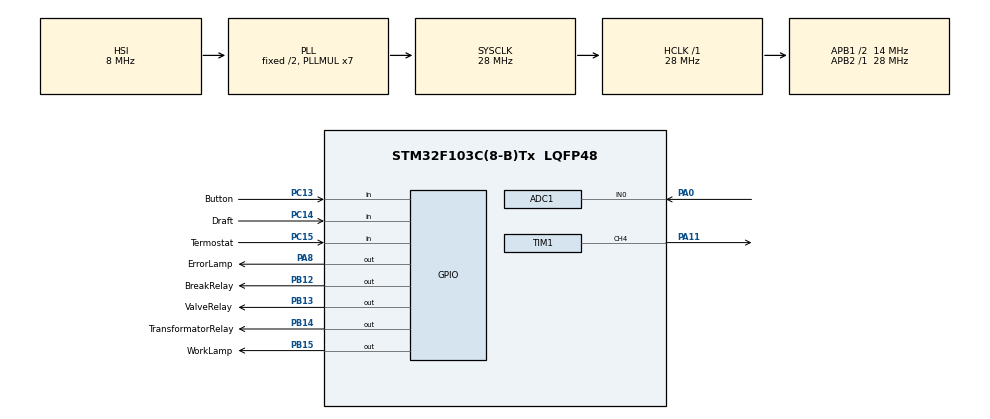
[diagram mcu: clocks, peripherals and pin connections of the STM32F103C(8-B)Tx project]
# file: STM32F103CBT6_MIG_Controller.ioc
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ADC1.Channel-0\#ChannelRegularConversion=ADC_CHANNEL_0
ADC1.ContinuousConvMode=DISABLE
ADC1.DataAlign=ADC_DATAALIGN_RIGHT
ADC1.DiscontinuousConvMode=DISABLE
ADC1.EnableAnalogWatchDog=false
ADC1.EnableRegularConversion=ENABLE
ADC1.ExternalTrigConv=ADC_SOFTWARE_START
ADC1.InjNumberOfConversion=0
ADC1.NbrOfConversion=1
ADC1.NbrOfConversionFlag=1
ADC1.Rank-0\#ChannelRegularConversion=1
ADC1.SamplingTime-0\#ChannelRegularConversion=ADC_SAMPLETIME_13CYCLES_5
ADC1.ScanConvMode=ADC_SCAN_DISABLE
ADC1.master=1
Mcu.Family=STM32F1
Mcu.Name=STM32F103C(8-B)Tx
Mcu.Package=LQFP48
NVIC.PriorityGroup=NVIC_PRIORITYGROUP_4
PA0-WKUP.Signal=ADCx_IN0
PA11.Signal=S_TIM1_CH4
PA13.Mode=Serial_Wire
PA13.Signal=SYS_JTMS-SWDIO
PA14.Mode=Serial_Wire
PA14.Signal=SYS_JTCK-SWCLK
PA8.GPIO_Label=ErrorLamp
PA8.Signal=GPIO_Output
PB12.GPIO_Label=BreakRelay
PB12.Signal=GPIO_Output
PB13.GPIO_Label=ValveRelay
PB13.Signal=GPIO_Output
PB14.GPIO_Label=TransformatorRelay
PB14.Signal=GPIO_Output
PB15.GPIO_Label=WorkLamp
PB15.Signal=GPIO_Output
PC13-TAMPER-RTC.GPIO_Label=Button
PC13-TAMPER-RTC.Signal=GPIO_Input
PC14-OSC32_IN.GPIO_Label=Draft
PC14-OSC32_IN.Signal=GPIO_Input
PC15-OSC32_OUT.GPIO_Label=Termostat
PC15-OSC32_OUT.Signal=GPIO_Input
PD0-OSC_IN.Mode=HSE-External-Oscillator
PD0-OSC_IN.Signal=RCC_OSC_IN
PD1-OSC_OUT.Mode=HSE-External-Oscillator
PD1-OSC_OUT.Signal=RCC_OSC_OUT
ProjectManager.HeapSize=0x200
ProjectManager.StackSize=0x400
ProjectManager.TargetToolchain=SW4STM32
RCC.AHBFreq_Value=28000000
RCC.APB1CLKDivider=RCC_HCLK_DIV2
RCC.APB1Freq_Value=14000000
RCC.APB1TimFreq_Value=28000000
RCC.APB2Freq_Value=28000000
RCC.APB2TimFreq_Value=28000000
RCC.HCLKFreq_Value=28000000
RCC.PLLMUL=RCC_PLL_MUL7
RCC.SYSCLKFreq_VALUE=28000000
RCC.SYSCLKSource=RCC_SYSCLKSOURCE_PLLCLK
RCC.USBFreq_Value=28000000
SH.ADCx_IN0.0=ADC1_IN0,IN0
SH.S_TIM1_CH4.0=TIM1_CH4,PWM Generation4 CH4
TIM1.Channel-PWM\ Generation4\ CH4=TIM_CHANNEL_4
TIM1.Period=255
TIM1.Prescaler=26
board=custom

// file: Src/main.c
/**
 ******************************************************************************
 * @file           : main.c
 * @brief          : Main program body
 ******************************************************************************
 ** This notice applies to any and all portions of this file
 * that are not between comment pairs USER CODE BEGIN and
 * USER CODE END. Other portions of this file, whether
 * inserted by the user or by software development tools
 * are owned by their respective copyright owners.
 *
 * COPYRIGHT(c) 2019 STMicroelectronics
 *
 * Redistribution and use in source and binary forms, with or without modification,
 * are permitted provided that the following conditions are met:
 *   1. Redistributions of source code must retain the above copyright notice,
 *      this list of conditions and the following disclaimer.
 *   2. Redistributions in binary form must reproduce the above copyright notice,
 *      this list of conditions and the following disclaimer in the documentation
 *      and/or other materials provided with the distribution.
 *   3. Neither the name of STMicroelectronics nor the names of its contributors
 *      may be used to endorse or promote products derived from this software
 *      without specific prior written permission.
 *
 * THIS SOFTWARE IS PROVIDED BY THE COPYRIGHT HOLDERS AND CONTRIBUTORS "AS IS"
 * AND ANY EXPRESS OR IMPLIED WARRANTIES, INCLUDING, BUT NOT LIMITED TO, THE
 * IMPLIED WARRANTIES OF MERCHANTABILITY AND FITNESS FOR A PARTICULAR PURPOSE ARE
 * DISCLAIMED. IN NO EVENT SHALL THE COPYRIGHT HOLDER OR CONTRIBUTORS BE LIABLE
 * FOR ANY DIRECT, INDIRECT, INCIDENTAL, SPECIAL, EXEMPLARY, OR CONSEQUENTIAL
 * DAMAGES (INCLUDING, BUT NOT LIMITED TO, PROCUREMENT OF SUBSTITUTE GOODS OR
 * SERVICES; LOSS OF USE, DATA, OR PROFITS; OR BUSINESS INTERRUPTION) HOWEVER
 * CAUSED AND ON ANY THEORY OF LIABILITY, WHETHER IN CONTRACT, STRICT LIABILITY,
 * OR TORT (INCLUDING NEGLIGENCE OR OTHERWISE) ARISING IN ANY WAY OUT OF THE USE
 * OF THIS SOFTWARE, EVEN IF ADVISED OF THE POSSIBILITY OF SUCH DAMAGE.
 *
 ******************************************************************************
 */
#include "main.h"
#include "stm32f1xx_hal.h"
#include "adc.h"
#include "tim.h"
#include "gpio.h"

/* USER CODE BEGIN Includes */
#include "stdbool.h"
/* USER CODE END Includes */

/* USER CODE BEGIN PV */
/* Private variables ---------------------------------------------------------*/

/* USER CODE END PV */

void SystemClock_Config(void);

/* USER CODE BEGIN PFP */
/* Private function prototypes -----------------------------------------------*/
bool ButtonIsPressed();
uint16_t ADC1_GetValue(uint32_t channel);
/* USER CODE END PFP */

int main(void) {

	/* MCU Configuration----------------------------------------------------------*/

	/* Reset of all peripherals, Initializes the Flash interface and the Systick. */
	HAL_Init();

	/* Configure the system clock */
	SystemClock_Config();

	/* Initialize all configured peripherals */
	MX_GPIO_Init();
	MX_TIM1_Init();
	MX_ADC1_Init();
	/* USER CODE BEGIN 2 */
	HAL_TIM_PWM_Start(&htim1, TIM_CHANNEL_4);
	TIM1->CCR4 = 10;
	u_int16_t PWM_BUFFER = 0;
	/* USER CODE END 2 */

	/* Infinite loop */
	/* USER CODE BEGIN WHILE */
	while (1) {

		if (ButtonIsPressed() == true) {

			if (HAL_GPIO_ReadPin(Termostat_GPIO_Port, Termostat_Pin)
					== GPIO_PIN_SET) {
				OverHeat();
				WorkLampDisable();
				ErrorLampEnable();
			} else {
				EnableTransformator();
				PWM_BUFFER = ADC1_GetValue(ADC_CHANNEL_0);
				TIM1->CCR4 = PWM_BUFFER / 16;
				HAL_Delay(500);
				EnableValve();
				UnBlockMotor();
				WorkLampEnable();
			}

		} else {
			BlockMotor();
			DisableTransformator();
			DisableValve();
			WorkLampDisable();

		}

		if (HAL_GPIO_ReadPin(Draft_GPIO_Port, Draft_Pin) == GPIO_PIN_RESET) {
			DraftWire();
		}
		WorkLampDisable();

		/* USER CODE END WHILE */

	}

}

void SystemClock_Config(void) {

	RCC_OscInitTypeDef RCC_OscInitStruct;
	RCC_ClkInitTypeDef RCC_ClkInitStruct;
	RCC_PeriphCLKInitTypeDef PeriphClkInit;

	/**Initializes the CPU, AHB and APB busses clocks
	 */
	RCC_OscInitStruct.OscillatorType = RCC_OSCILLATORTYPE_HSI;
	RCC_OscInitStruct.HSIState = RCC_HSI_ON;
	RCC_OscInitStruct.HSICalibrationValue = 16;
	RCC_OscInitStruct.PLL.PLLState = RCC_PLL_ON;
	RCC_OscInitStruct.PLL.PLLSource = RCC_PLLSOURCE_HSI_DIV2;
	RCC_OscInitStruct.PLL.PLLMUL = RCC_PLL_MUL7;
	if (HAL_RCC_OscConfig(&RCC_OscInitStruct) != HAL_OK) {
		_Error_Handler(__FILE__, __LINE__);
	}

	/**Initializes the CPU, AHB and APB busses clocks
	 */
	RCC_ClkInitStruct.ClockType = RCC_CLOCKTYPE_HCLK | RCC_CLOCKTYPE_SYSCLK
			| RCC_CLOCKTYPE_PCLK1 | RCC_CLOCKTYPE_PCLK2;
	RCC_ClkInitStruct.SYSCLKSource = RCC_SYSCLKSOURCE_PLLCLK;
	RCC_ClkInitStruct.AHBCLKDivider = RCC_SYSCLK_DIV1;
	RCC_ClkInitStruct.APB1CLKDivider = RCC_HCLK_DIV2;
	RCC_ClkInitStruct.APB2CLKDivider = RCC_HCLK_DIV1;

	if (HAL_RCC_ClockConfig(&RCC_ClkInitStruct, FLASH_LATENCY_1) != HAL_OK) {
		_Error_Handler(__FILE__, __LINE__);
	}

	PeriphClkInit.PeriphClockSelection = RCC_PERIPHCLK_ADC;
	PeriphClkInit.AdcClockSelection = RCC_ADCPCLK2_DIV2;
	if (HAL_RCCEx_PeriphCLKConfig(&PeriphClkInit) != HAL_OK) {
		_Error_Handler(__FILE__, __LINE__);
	}

	/**Configure the Systick interrupt time
	 */
	HAL_SYSTICK_Config(HAL_RCC_GetHCLKFreq() / 1000);

	/**Configure the Systick
	 */
	HAL_SYSTICK_CLKSourceConfig(SYSTICK_CLKSOURCE_HCLK);

	/* SysTick_IRQn interrupt configuration */
	HAL_NVIC_SetPriority(SysTick_IRQn, 0, 0);
}

/* USER CODE BEGIN 4 */
void EnableTransformator() {
	HAL_GPIO_WritePin(TransformatorRelay_GPIO_Port, TransformatorRelay_Pin,
			GPIO_PIN_SET);
}

void DisableTransformator() {
	HAL_GPIO_WritePin(TransformatorRelay_GPIO_Port, TransformatorRelay_Pin,
			GPIO_PIN_RESET);
}

bool ButtonIsPressed() {
	if (HAL_GPIO_ReadPin(Button_GPIO_Port, Button_Pin) == GPIO_PIN_RESET)
		return true;
	else
		return false;
}

void EnableValve() {
	HAL_GPIO_WritePin(ValveRelay_GPIO_Port, ValveRelay_Pin, GPIO_PIN_SET);
}

void DisableValve() {
	HAL_GPIO_WritePin(ValveRelay_GPIO_Port, ValveRelay_Pin, GPIO_PIN_RESET);
}

void BlockMotor() {
	HAL_GPIO_WritePin(BreakRelay_GPIO_Port, BreakRelay_Pin, GPIO_PIN_RESET);
}

void UnBlockMotor() {
	HAL_GPIO_WritePin(BreakRelay_GPIO_Port, BreakRelay_Pin, GPIO_PIN_SET);
}

void DraftWire() {
	uint16_t PWM_BUFFER = 0;
	UnBlockMotor();
	PWM_BUFFER = ADC1_GetValue(ADC_CHANNEL_0);
	TIM1->CCR4 = PWM_BUFFER / 16;

}

void ErrorLampEnable() {
	HAL_GPIO_WritePin(ErrorLamp_GPIO_Port, ErrorLamp_Pin, GPIO_PIN_SET);
}
void ErrorLampDisable() {
	HAL_GPIO_WritePin(ErrorLamp_GPIO_Port, ErrorLamp_Pin, GPIO_PIN_RESET);
}
void WorkLampEnable() {
	HAL_GPIO_WritePin(WorkLamp_GPIO_Port, WorkLamp_Pin, GPIO_PIN_SET);
}
void WorkLampDisable() {
	HAL_GPIO_WritePin(WorkLamp_GPIO_Port, WorkLamp_Pin, GPIO_PIN_RESET);
}

void OverHeat() {
	ErrorLampEnable();
	DisableTransformator();
	DisableValve();
	BlockMotor();
}
uint16_t ADC1_GetValue(uint32_t channel) {

	ADC_ChannelConfTypeDef sConfig;
	sConfig.Channel = channel;
	sConfig.Rank = 1;
	sConfig.SamplingTime = ADC_SAMPLETIME_13CYCLES_5;
	HAL_ADC_ConfigChannel(&hadc1, &sConfig);
	HAL_ADC_Start(&hadc1);
	HAL_ADC_PollForConversion(&hadc1, 100);
	uint16_t value = HAL_ADC_GetValue(&hadc1);
	return value;
}

/* USER CODE END 4 */

void _Error_Handler(char *file, int line) {
	while (1) {
	}
}

/************************ (C) COPYRIGHT STMicroelectronics *****END OF FILE****/
